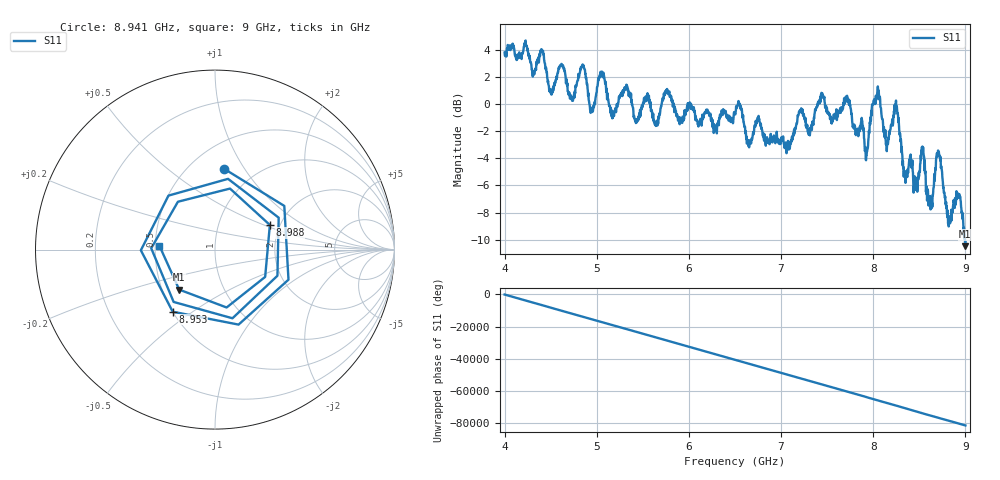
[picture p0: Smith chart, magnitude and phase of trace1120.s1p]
! Created with skrf 1.8.0 (http://scikit-rf.org).
# Hz S RI R 50.0
!freq ReS11 ImS11
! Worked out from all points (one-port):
!   1601 points, 4 GHz to 9 GHz, reference 50 ohm
!   lowest |S11| = -10.5 dB at 8.997 GHz (marker M1), VSWR 1.85, Z = 30.6 - j15 ohm
!   |S11| at or under -10 dB: 8.995244 GHz to end of sweep
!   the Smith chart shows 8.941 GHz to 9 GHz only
!   S11 on the Smith chart (normalised r, x): 8.941 GHz: 0.72, +0.81; 8.953 GHz: 0.50, -0.42; 8.988 GHz: 1.77, +0.55; 9 GHz: 0.53, +0.02
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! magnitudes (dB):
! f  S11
! 4 GHz  3.8
! 4.403 GHz  4.0
! 4.503 GHz  0.8
! 4.625 GHz  2.8
! 4.734 GHz  0.2
! 4.853 GHz  2.7
! 4.944 GHz  -0.5
! 5.053 GHz  2.1
! 5.25 GHz  0.5
! 5.875 GHz  -0.9
! 6.5 GHz  -0.7
! 7.125 GHz  -2.6
! 7.444 GHz  0.8
! 7.75 GHz  0.0
! 7.925 GHz  -3.8
! 8.034 GHz  0.3
! 8.144 GHz  -2.9
! 8.25 GHz  -0.3
! 8.375 GHz  -4.8
! 8.534 GHz  -3.1
! 8.622 GHz  -7.8
! 8.706 GHz  -3.4
! 8.819 GHz  -9.0
! 8.941 GHz  -6.9
! 8.953 GHz  -7.6
! 8.988 GHz  -9.5
! 8.997 GHz  -10.5
! 9 GHz  -10.2
